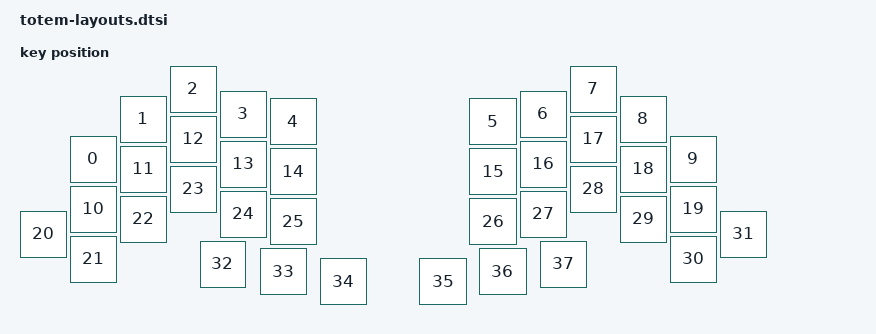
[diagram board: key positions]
/*
 * Copyright (c) 2022 The ZMK Contributors
 * SPDX-License-Identifier: MIT
 *
 * Physical layout for the TOTEM 38-key split keyboard.
 *
 * Key positions are derived from the authoritative QMK keyboard.json at:
 *   GEIGEIGEIST/TOTEM/firmware/QMK/VIAL_source/totem/keyboard.json
 * converted from QMK key-units to ZMK centiunits (multiply by 100).
 *
 * Key order matches the matrix transform map exactly:
 *   Row 0  : RC(0,0)–RC(0,9)   — top row, left then right
 *   Row 1  : RC(1,0)–RC(1,9)   — home row, left then right
 *   Row 2  : RC(3,0) RC(2,0)–RC(2,9) RC(3,9) — bottom row incl. outer pinky keys
 *   Thumbs : RC(3,2)–RC(3,7)   — thumb cluster, left then right
 *
 * Include this file from any shield overlay or dtsi that needs the physical
 * layout (both the main halves via totem.dtsi and the dongle overlay).
 */

#include <physical_layouts.dtsi>

/ {
    totem_layout: layout_0 {
        compatible = "zmk,physical-layout";
        display-name = "TOTEM";
        transform = <&default_transform>;

        keys = <
            /* RC(0,0) L00 */ &key_physical_attrs 100 100  100 140 0 0 0
            /* RC(0,1) L01 */ &key_physical_attrs 100 100  200  60 0 0 0
            /* RC(0,2) L02 */ &key_physical_attrs 100 100  300   0 0 0 0
            /* RC(0,3) L03 */ &key_physical_attrs 100 100  400  50 0 0 0
            /* RC(0,4) L04 */ &key_physical_attrs 100 100  500  65 0 0 0
            /* RC(0,5) R00 */ &key_physical_attrs 100 100  900  65 0 0 0
            /* RC(0,6) R01 */ &key_physical_attrs 100 100 1000  50 0 0 0
            /* RC(0,7) R02 */ &key_physical_attrs 100 100 1100   0 0 0 0
            /* RC(0,8) R03 */ &key_physical_attrs 100 100 1200  60 0 0 0
            /* RC(0,9) R04 */ &key_physical_attrs 100 100 1300 140 0 0 0
            /* RC(1,0) L10 */ &key_physical_attrs 100 100  100 240 0 0 0
            /* RC(1,1) L11 */ &key_physical_attrs 100 100  200 160 0 0 0
            /* RC(1,2) L12 */ &key_physical_attrs 100 100  300 100 0 0 0
            /* RC(1,3) L13 */ &key_physical_attrs 100 100  400 150 0 0 0
            /* RC(1,4) L14 */ &key_physical_attrs 100 100  500 165 0 0 0
            /* RC(1,5) R10 */ &key_physical_attrs 100 100  900 165 0 0 0
            /* RC(1,6) R11 */ &key_physical_attrs 100 100 1000 150 0 0 0
            /* RC(1,7) R12 */ &key_physical_attrs 100 100 1100 100 0 0 0
            /* RC(1,8) R13 */ &key_physical_attrs 100 100 1200 160 0 0 0
            /* RC(1,9) R14 */ &key_physical_attrs 100 100 1300 240 0 0 0
            /* RC(3,0) L30 */ &key_physical_attrs 100 100    0 290 0 0 0
            /* RC(2,0) L20 */ &key_physical_attrs 100 100  100 340 0 0 0
            /* RC(2,1) L21 */ &key_physical_attrs 100 100  200 260 0 0 0
            /* RC(2,2) L22 */ &key_physical_attrs 100 100  300 200 0 0 0
            /* RC(2,3) L23 */ &key_physical_attrs 100 100  400 250 0 0 0
            /* RC(2,4) L24 */ &key_physical_attrs 100 100  500 265 0 0 0
            /* RC(2,5) R20 */ &key_physical_attrs 100 100  900 265 0 0 0
            /* RC(2,6) R21 */ &key_physical_attrs 100 100 1000 250 0 0 0
            /* RC(2,7) R22 */ &key_physical_attrs 100 100 1100 200 0 0 0
            /* RC(2,8) R23 */ &key_physical_attrs 100 100 1200 260 0 0 0
            /* RC(2,9) R24 */ &key_physical_attrs 100 100 1300 340 0 0 0
            /* RC(3,9) R34 */ &key_physical_attrs 100 100 1400 290 0 0 0
            /* RC(3,2) L32 */ &key_physical_attrs 100 100  360 350 0 0 0
            /* RC(3,3) L33 */ &key_physical_attrs 100 100  480 365 0 0 0
            /* RC(3,4) L34 */ &key_physical_attrs 100 100  600 385 0 0 0
            /* RC(3,5) R30 */ &key_physical_attrs 100 100  800 385 0 0 0
            /* RC(3,6) R31 */ &key_physical_attrs 100 100  920 365 0 0 0
            /* RC(3,7) R32 */ &key_physical_attrs 100 100 1040 350 0 0 0
        >;
    };
};
